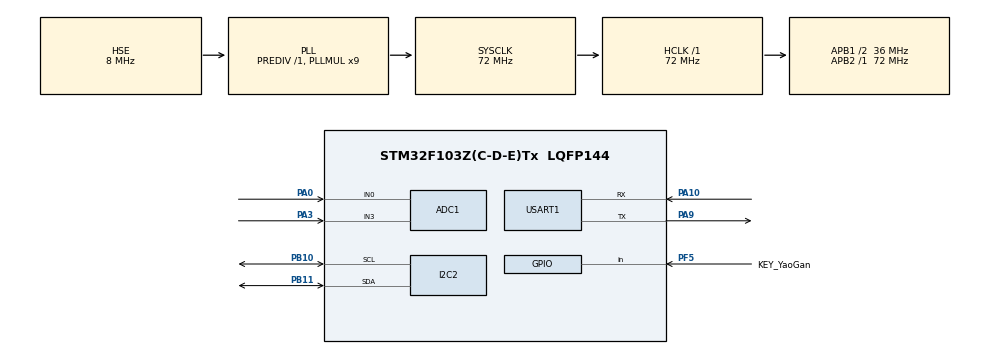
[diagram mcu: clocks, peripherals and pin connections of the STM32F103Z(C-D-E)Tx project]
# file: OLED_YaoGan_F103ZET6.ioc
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ADC1.Channel-0\#ChannelRegularConversion=ADC_CHANNEL_0
ADC1.Channel-1\#ChannelRegularConversion=ADC_CHANNEL_3
ADC1.ContinuousConvMode=ENABLE
ADC1.NbrOfConversion=2
ADC1.NbrOfConversionFlag=1
ADC1.Rank-0\#ChannelRegularConversion=1
ADC1.Rank-1\#ChannelRegularConversion=2
ADC1.SamplingTime-0\#ChannelRegularConversion=ADC_SAMPLETIME_239CYCLES_5
ADC1.SamplingTime-1\#ChannelRegularConversion=ADC_SAMPLETIME_239CYCLES_5
ADC1.master=1
Dma.ADC1.0.Direction=DMA_PERIPH_TO_MEMORY
Dma.ADC1.0.Instance=DMA1_Channel1
Dma.ADC1.0.MemDataAlignment=DMA_MDATAALIGN_HALFWORD
Dma.ADC1.0.MemInc=DMA_MINC_ENABLE
Dma.ADC1.0.Mode=DMA_CIRCULAR
Dma.ADC1.0.PeriphDataAlignment=DMA_PDATAALIGN_HALFWORD
Dma.ADC1.0.PeriphInc=DMA_PINC_DISABLE
Dma.ADC1.0.Priority=DMA_PRIORITY_LOW
Dma.Request0=ADC1
I2C2.I2C_Mode=I2C_Fast
Mcu.Family=STM32F1
Mcu.Name=STM32F103Z(C-D-E)Tx
Mcu.Package=LQFP144
NVIC.DMA1_Channel1_IRQn=true\:0\:0\:false\:false\:true\:false\:true\:true
NVIC.PriorityGroup=NVIC_PRIORITYGROUP_4
OSC_IN.Mode=HSE-External-Oscillator
OSC_IN.Signal=RCC_OSC_IN
OSC_OUT.Mode=HSE-External-Oscillator
OSC_OUT.Signal=RCC_OSC_OUT
PA0-WKUP.Signal=ADCx_IN0
PA10.Mode=Asynchronous
PA10.Signal=USART1_RX
PA13.Mode=Serial_Wire
PA13.Signal=SYS_JTMS-SWDIO
PA14.Mode=Serial_Wire
PA14.Signal=SYS_JTCK-SWCLK
PA3.Signal=ADCx_IN3
PA9.Mode=Asynchronous
PA9.Signal=USART1_TX
PB10.Mode=I2C
PB10.Signal=I2C2_SCL
PB11.Mode=I2C
PB11.Signal=I2C2_SDA
PF5.GPIO_Label=KEY_YaoGan
PF5.GPIO_PuPd=GPIO_PULLUP
PF5.Signal=GPIO_Input
ProjectManager.HeapSize=0x200
ProjectManager.StackSize=0x400
ProjectManager.TargetToolchain=STM32CubeIDE
RCC.ADCPresc=RCC_ADCPCLK2_DIV6
RCC.AHBFreq_Value=72000000
RCC.APB1CLKDivider=RCC_HCLK_DIV2
RCC.APB1Freq_Value=36000000
RCC.APB1TimFreq_Value=72000000
RCC.APB2Freq_Value=72000000
RCC.APB2TimFreq_Value=72000000
RCC.HCLKFreq_Value=72000000
RCC.PLLMUL=RCC_PLL_MUL9
RCC.PLLSourceVirtual=RCC_PLLSOURCE_HSE
RCC.SYSCLKFreq_VALUE=72000000
RCC.SYSCLKSource=RCC_SYSCLKSOURCE_PLLCLK
RCC.USBFreq_Value=72000000
SH.ADCx_IN0.0=ADC1_IN0,IN0
SH.ADCx_IN3.0=ADC1_IN3,IN3
USART1.VirtualMode=VM_ASYNC
board=custom

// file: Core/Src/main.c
/* USER CODE BEGIN Header */
/**
  ******************************************************************************
  * @file           : main.c
  * @brief          : Main program body
  ******************************************************************************
  * @attention
  *
  * Copyright (c) 2023 STMicroelectronics.
  * All rights reserved.
  *
  * This software is licensed under terms that can be found in the LICENSE file
  * in the root directory of this software component.
  * If no LICENSE file comes with this software, it is provided AS-IS.
  *
  ******************************************************************************
  */
/* USER CODE END Header */
#include "main.h"
#include "adc.h"
#include "dma.h"
#include "i2c.h"
#include "usart.h"
#include "gpio.h"

/* USER CODE BEGIN Includes */
#include "oled.h"
#include "stdio.h"
#include "string.h"
/* USER CODE END Includes */

/* USER CODE BEGIN PV */

uint16_t adc_buf[2];

/* USER CODE END PV */

void SystemClock_Config(void);

int main(void)
{

  /* MCU Configuration--------------------------------------------------------*/

  /* Reset of all peripherals, Initializes the Flash interface and the Systick. */
  HAL_Init();

  /* Configure the system clock */
  SystemClock_Config();

  /* Initialize all configured peripherals */
  MX_GPIO_Init();
  MX_DMA_Init();
  MX_ADC1_Init();
  MX_USART1_UART_Init();
  MX_I2C2_Init();
  /* USER CODE BEGIN 2 */

  HAL_ADC_Start_DMA(&hadc1, (uint32_t*)adc_buf, (uint32_t)2);
  HAL_Delay(20);
  OLED_Init();

  char message[50];
  float adc_x, adc_y;
  uint16_t x, y;

  /* USER CODE END 2 */

  /* Infinite loop */
  /* USER CODE BEGIN WHILE */
  while (1)
  {
	  if(HAL_GPIO_ReadPin(KEY_YaoGan_GPIO_Port, KEY_YaoGan_Pin) == GPIO_PIN_RESET)
	  {
		  HAL_Delay(10);
		  if(HAL_GPIO_ReadPin(KEY_YaoGan_GPIO_Port, KEY_YaoGan_Pin) == GPIO_PIN_RESET)
		  {
			  for(uint8_t i = 0; i < 10; i++)
			  {
				  OLED_NewFrame();
				  OLED_DrawCircle(64, 32, 25, OLED_COLOR_NORMAL);
				  OLED_DrawFilledCircle(x, y, 5, OLED_COLOR_NORMAL);
				  OLED_DrawCircle(64, 32, 35 + i, OLED_COLOR_NORMAL);
				  OLED_DrawCircle(64, 32, 45 + i*2, OLED_COLOR_NORMAL);
				  OLED_DrawCircle(64, 32, 55 + i*3, OLED_COLOR_NORMAL);
				  OLED_ShowFrame();
			  }
			  while(HAL_GPIO_ReadPin(KEY_YaoGan_GPIO_Port, KEY_YaoGan_Pin) == GPIO_PIN_RESET){}
		  }
	  }

	  adc_x = adc_buf[0] * 3.3/4096;
	  adc_y = adc_buf[1] * 3.3/4096;
	  sprintf(message, "%d %.2f %d %.2f\r\n", adc_buf[0], adc_x, adc_buf[1], adc_y);
	  HAL_UART_Transmit(&huart1, (uint8_t*)message, strlen(message), HAL_MAX_DELAY);

	  x = (4044 - adc_buf[1]) * 50/4044 + 39;
	  y = adc_buf[0] * 50/4044 + 7;

	  OLED_NewFrame();
	  OLED_DrawCircle(64, 32, 25, OLED_COLOR_NORMAL);
	  OLED_DrawFilledCircle(x, y, 5, OLED_COLOR_NORMAL);
	  OLED_ShowFrame();

    /* USER CODE END WHILE */

  }
}

void SystemClock_Config(void)
{
  RCC_OscInitTypeDef RCC_OscInitStruct = {0};
  RCC_ClkInitTypeDef RCC_ClkInitStruct = {0};
  RCC_PeriphCLKInitTypeDef PeriphClkInit = {0};

  /** Initializes the RCC Oscillators according to the specified parameters
  * in the RCC_OscInitTypeDef structure.
  */
  RCC_OscInitStruct.OscillatorType = RCC_OSCILLATORTYPE_HSE;
  RCC_OscInitStruct.HSEState = RCC_HSE_ON;
  RCC_OscInitStruct.HSEPredivValue = RCC_HSE_PREDIV_DIV1;
  RCC_OscInitStruct.HSIState = RCC_HSI_ON;
  RCC_OscInitStruct.PLL.PLLState = RCC_PLL_ON;
  RCC_OscInitStruct.PLL.PLLSource = RCC_PLLSOURCE_HSE;
  RCC_OscInitStruct.PLL.PLLMUL = RCC_PLL_MUL9;
  if (HAL_RCC_OscConfig(&RCC_OscInitStruct) != HAL_OK)
  {
    Error_Handler();
  }

  /** Initializes the CPU, AHB and APB buses clocks
  */
  RCC_ClkInitStruct.ClockType = RCC_CLOCKTYPE_HCLK|RCC_CLOCKTYPE_SYSCLK
                              |RCC_CLOCKTYPE_PCLK1|RCC_CLOCKTYPE_PCLK2;
  RCC_ClkInitStruct.SYSCLKSource = RCC_SYSCLKSOURCE_PLLCLK;
  RCC_ClkInitStruct.AHBCLKDivider = RCC_SYSCLK_DIV1;
  RCC_ClkInitStruct.APB1CLKDivider = RCC_HCLK_DIV2;
  RCC_ClkInitStruct.APB2CLKDivider = RCC_HCLK_DIV1;

  if (HAL_RCC_ClockConfig(&RCC_ClkInitStruct, FLASH_LATENCY_2) != HAL_OK)
  {
    Error_Handler();
  }
  PeriphClkInit.PeriphClockSelection = RCC_PERIPHCLK_ADC;
  PeriphClkInit.AdcClockSelection = RCC_ADCPCLK2_DIV6;
  if (HAL_RCCEx_PeriphCLKConfig(&PeriphClkInit) != HAL_OK)
  {
    Error_Handler();
  }
}

void Error_Handler(void)
{
  __disable_irq();
  while (1)
  {
  }
}
